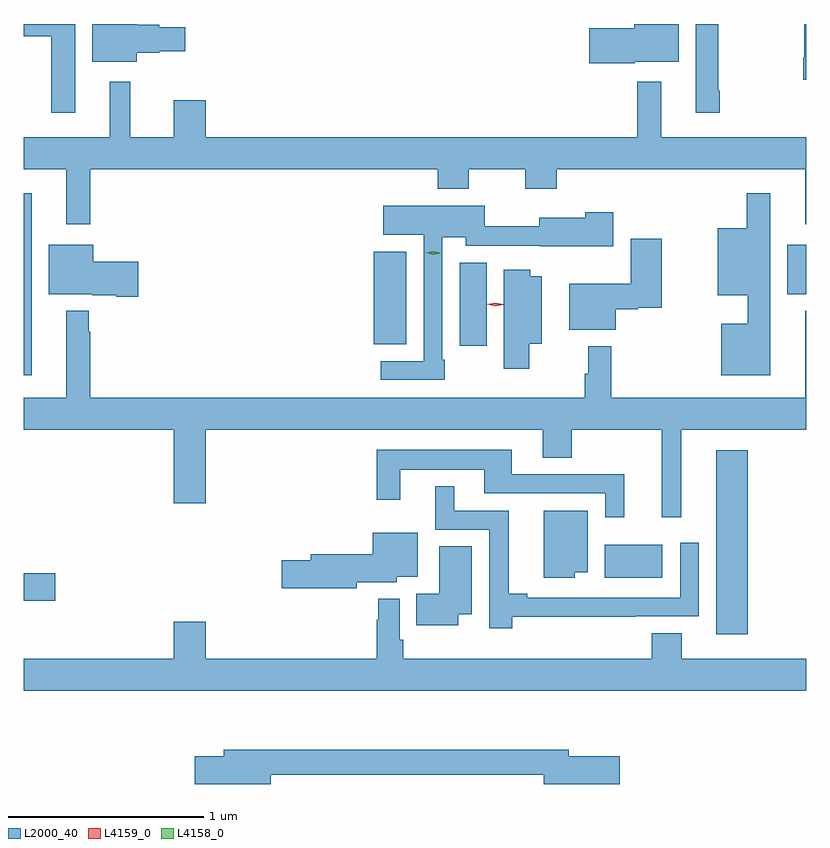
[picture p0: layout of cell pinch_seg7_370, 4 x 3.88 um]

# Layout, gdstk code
import gdstk
lib = gdstk.Library(unit=1e-6, precision=1e-09)
def R(c, l, rs):  # rectangles x0, y0, x1, y1
    for r in rs: c.add(gdstk.rectangle(r[:2], r[2:], *l))
def P(c, l, *ps):  # polygons
    for p in ps: c.add(gdstk.Polygon(p, *l))
L2000_40 = (2000, 40)
L4158_0 = (4158, 0)
L4159_0 = (4159, 0)

pinch_seg7_370 = lib.new_cell('pinch_seg7_370')
R(pinch_seg7_370, L2000_40, [(491.456,1022.217,491.615,1023.157), (487.916,1022.386,488.077,1022.528), (490.886,1022.504,491.179,1022.674), (487.916,1023.539,487.957,1024.468), (490.145,1023.69,490.282,1024.115), (489.704,1023.697,489.871,1024.171), (491.819,1023.953,491.916,1024.207)])
P(pinch_seg7_370, L2000_40, [(491.916,1025.334),(491.906,1025.334),(491.906,1025.161),(491.899,1025.161),(491.899,1025.049),(491.916,1025.049)],
  [(491.473,1024.993),(491.465,1024.993),(491.465,1025.334),(491.351,1025.334),(491.351,1024.881),(491.473,1024.881)],
  [(488.494,1025.188),(488.61,1025.188),(488.61,1025.195),(488.743,1025.195),(488.743,1025.317),(488.61,1025.317),(488.61,1025.33),(488.494,1025.33),(488.494,1025.334),(488.267,1025.334),(488.267,1025.141),(488.494,1025.141)],
  [(488.179,1025.334),(487.916,1025.334),(487.916,1025.272),(488.058,1025.272),(488.058,1024.881),(488.179,1024.881)],
  [(491.04,1025.141),(491.263,1025.141),(491.263,1025.334),(491.036,1025.334),(491.036,1025.312),(490.806,1025.312),(490.806,1025.134),(491.04,1025.134)],
  [(488.257,1024.592),(490.031,1024.592),(490.031,1024.493),(490.191,1024.493),(490.191,1024.592),(490.48,1024.592),(490.48,1024.493),(490.64,1024.493),(490.64,1024.592),(491.909,1024.592),(491.909,1024.311),(491.916,1024.311),(491.916,1024.756),(491.173,1024.756),(491.173,1025.038),(491.052,1025.038),(491.052,1024.756),(488.848,1024.756),(488.848,1024.945),(488.684,1024.945),(488.684,1024.756),(488.461,1024.756),(488.461,1025.038),(488.357,1025.038),(488.357,1024.756),(487.916,1024.756),(487.916,1024.592),(488.135,1024.592),(488.135,1024.311),(488.257,1024.311)],
  [(491.731,1024.468),(491.61,1024.468),(491.61,1024.291),(491.462,1024.291),(491.462,1023.947),(491.617,1023.947),(491.617,1023.802),(491.48,1023.802),(491.48,1023.539),(491.731,1023.539)],
  [(490.069,1023.619),(490.056,1023.619),(490.056,1024.244),(490.176,1024.244),(490.176,1024.2),(490.554,1024.2),(490.554,1024.199),(490.93,1024.199),(490.93,1024.372),(490.785,1024.372),(490.785,1024.345),(490.55,1024.345),(490.55,1024.301),(490.272,1024.301),(490.272,1024.405),(489.753,1024.405),(489.753,1024.256),(489.96,1024.256),(489.96,1023.612),(489.741,1023.612),(489.741,1023.516),(490.069,1023.516)],
  [(490.942,1023.877),(491.055,1023.877),(491.055,1023.884),(491.176,1023.884),(491.176,1024.237),(491.018,1024.237),(491.018,1024.006),(490.703,1024.006),(490.703,1023.773),(490.942,1023.773)],
  [(488.503,1024.119),(488.272,1024.119),(488.272,1024.207),(488.045,1024.207),(488.045,1023.953),(488.268,1023.953),(488.268,1023.947),(488.39,1023.947),(488.39,1023.941),(488.503,1023.941)],
  [(490.5,1023.701),(490.564,1023.701),(490.564,1024.045),(490.505,1024.045),(490.505,1024.078),(490.37,1024.078),(490.37,1023.573),(490.5,1023.573)],
  [(488.257,1023.761),(488.249,1023.761),(488.249,1023.868),(488.135,1023.868),(488.135,1023.424),(487.916,1023.424),(487.916,1023.26),(488.684,1023.26),(488.684,1022.886),(488.848,1022.886),(488.848,1023.26),(490.568,1023.26),(490.568,1023.118),(490.716,1023.118),(490.716,1023.26),(491.177,1023.26),(491.177,1022.814),(491.276,1022.814),(491.276,1023.26),(491.916,1023.26),(491.916,1023.868),(491.909,1023.868),(491.909,1023.424),(490.919,1023.424),(490.919,1023.688),(490.801,1023.688),(490.801,1023.548),(490.783,1023.548),(490.783,1023.424),(488.257,1023.424)],
  [(490.985,1023.033),(490.411,1023.033),(490.411,1023.16),(489.72,1023.16),(489.72,1022.904),(489.841,1022.904),(489.841,1023.056),(490.271,1023.056),(490.271,1022.937),(490.887,1022.937),(490.887,1022.814),(490.985,1022.814)],
  [(490.412,1022.306),(491.042,1022.306),(491.042,1022.307),(491.367,1022.307),(491.367,1022.683),(491.271,1022.683),(491.271,1022.403),(490.489,1022.403),(490.489,1022.423),(490.394,1022.423),(490.394,1022.847),(490.117,1022.847),(490.117,1022.971),(490.019,1022.971),(490.019,1022.751),(490.296,1022.751),(490.296,1022.247),(490.412,1022.247)],
  [(490.732,1022.534),(490.798,1022.534),(490.798,1022.848),(490.574,1022.848),(490.574,1022.504),(490.732,1022.504)],
  [(489.618,1022.483),(489.822,1022.483),(489.822,1022.51),(489.931,1022.51),(489.931,1022.734),(489.701,1022.734),(489.701,1022.624),(489.383,1022.624),(489.383,1022.594),(489.234,1022.594),(489.234,1022.452),(489.618,1022.452)],
  [(490.138,1022.318),(490.207,1022.318),(490.207,1022.666),(490.04,1022.666),(490.04,1022.422),(489.922,1022.422),(489.922,1022.261),(490.138,1022.261)],
  [(491.916,1022.092),(491.278,1022.092),(491.278,1022.222),(491.126,1022.222),(491.126,1022.092),(489.857,1022.092),(489.857,1022.188),(489.837,1022.188),(489.837,1022.398),(489.727,1022.398),(489.727,1022.291),(489.721,1022.291),(489.721,1022.092),(488.848,1022.092),(488.848,1022.281),(488.684,1022.281),(488.684,1022.092),(487.916,1022.092),(487.916,1021.928),(491.916,1021.928)],
  [(489.178,1021.498),(490.574,1021.498),(490.574,1021.451),(490.963,1021.451),(490.963,1021.593),(490.702,1021.593),(490.702,1021.627),(488.939,1021.627),(488.939,1021.593),(488.79,1021.593),(488.79,1021.451),(489.178,1021.451)])
P(pinch_seg7_370, L4158_0, [(490.009,1024.154),(489.974,1024.165),(489.974,1024.165),(489.974,1024.165),(490.009,1024.174),(490.044,1024.164),(490.044,1024.164),(490.044,1024.163)])
P(pinch_seg7_370, L4159_0, [(490.325,1023.891),(490.285,1023.901),(490.285,1023.901),(490.285,1023.902),(490.325,1023.911),(490.366,1023.901),(490.366,1023.9),(490.366,1023.9)])

lib.write_gds('pinch_seg7_370.gds')
